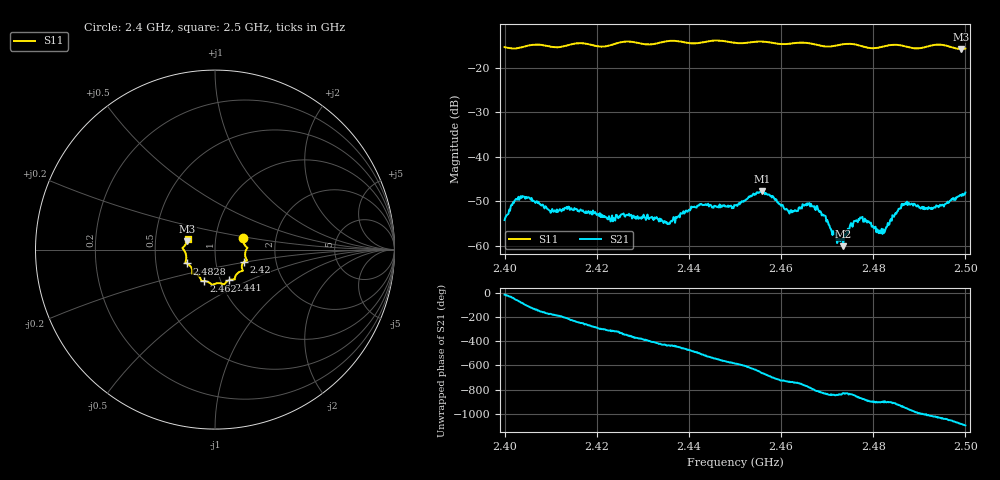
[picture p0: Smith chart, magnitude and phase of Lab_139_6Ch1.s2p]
# Hz S RI R 50
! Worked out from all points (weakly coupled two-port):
!   601 points, 2.4 GHz to 2.5 GHz, reference 50 ohm
!   highest |S21| = -47.79 dB at 2.4558 GHz (marker M1); lowest = -60.1 dB at 2.4735 GHz (marker M2)
!   lowest |S11| = -15.8 dB at 2.499 GHz (marker M3), VSWR 1.39, Z = 36.5 + j3.5 ohm
!   |S11| at or under -10 dB: start of sweep to end of sweep
!   S12 and S22 are empty: the file has one direction only
!   S11 on the Smith chart (normalised r, x): 2.4 GHz: 1.36, +0.18; 2.42 GHz: 1.36, -0.20; 2.441 GHz: 1.10, -0.39; 2.462 GHz: 0.84, -0.30; 2.4828 GHz: 0.72, -0.11; 2.5 GHz: 0.73, +0.09
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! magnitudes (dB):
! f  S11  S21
! 2.4 GHz  -15.4  -54.2
! 2.4038 GHz  -15.4  -48.8
! 2.4102 GHz  -15.3  -52.4
! 2.4167 GHz  -14.5  -52.1
! 2.42 GHz  -15.2  -53.1
! 2.4333 GHz  -14.5  -54.0
! 2.4358 GHz  -14.0  -55.0
! 2.441 GHz  -14.6  -51.3
! 2.45 GHz  -14.4  -50.9
! 2.4558 GHz  -14.2  -47.8
! 2.462 GHz  -14.6  -52.1
! 2.4667 GHz  -14.6  -51.1
! 2.4725 GHz  -14.9  -58.5
! 2.4735 GHz  -14.8  -60.1
! 2.4772 GHz  -15.1  -53.6
! 2.4812 GHz  -15.5  -57.1
! 2.4828 GHz  -15.1  -55.8
! 2.4833 GHz  -15.0  -55.3
! 2.4868 GHz  -15.2  -50.7
! 2.493 GHz  -15.0  -51.6
! 2.499 GHz  -15.8  -48.6
! 2.5 GHz  -15.7  -48.0
